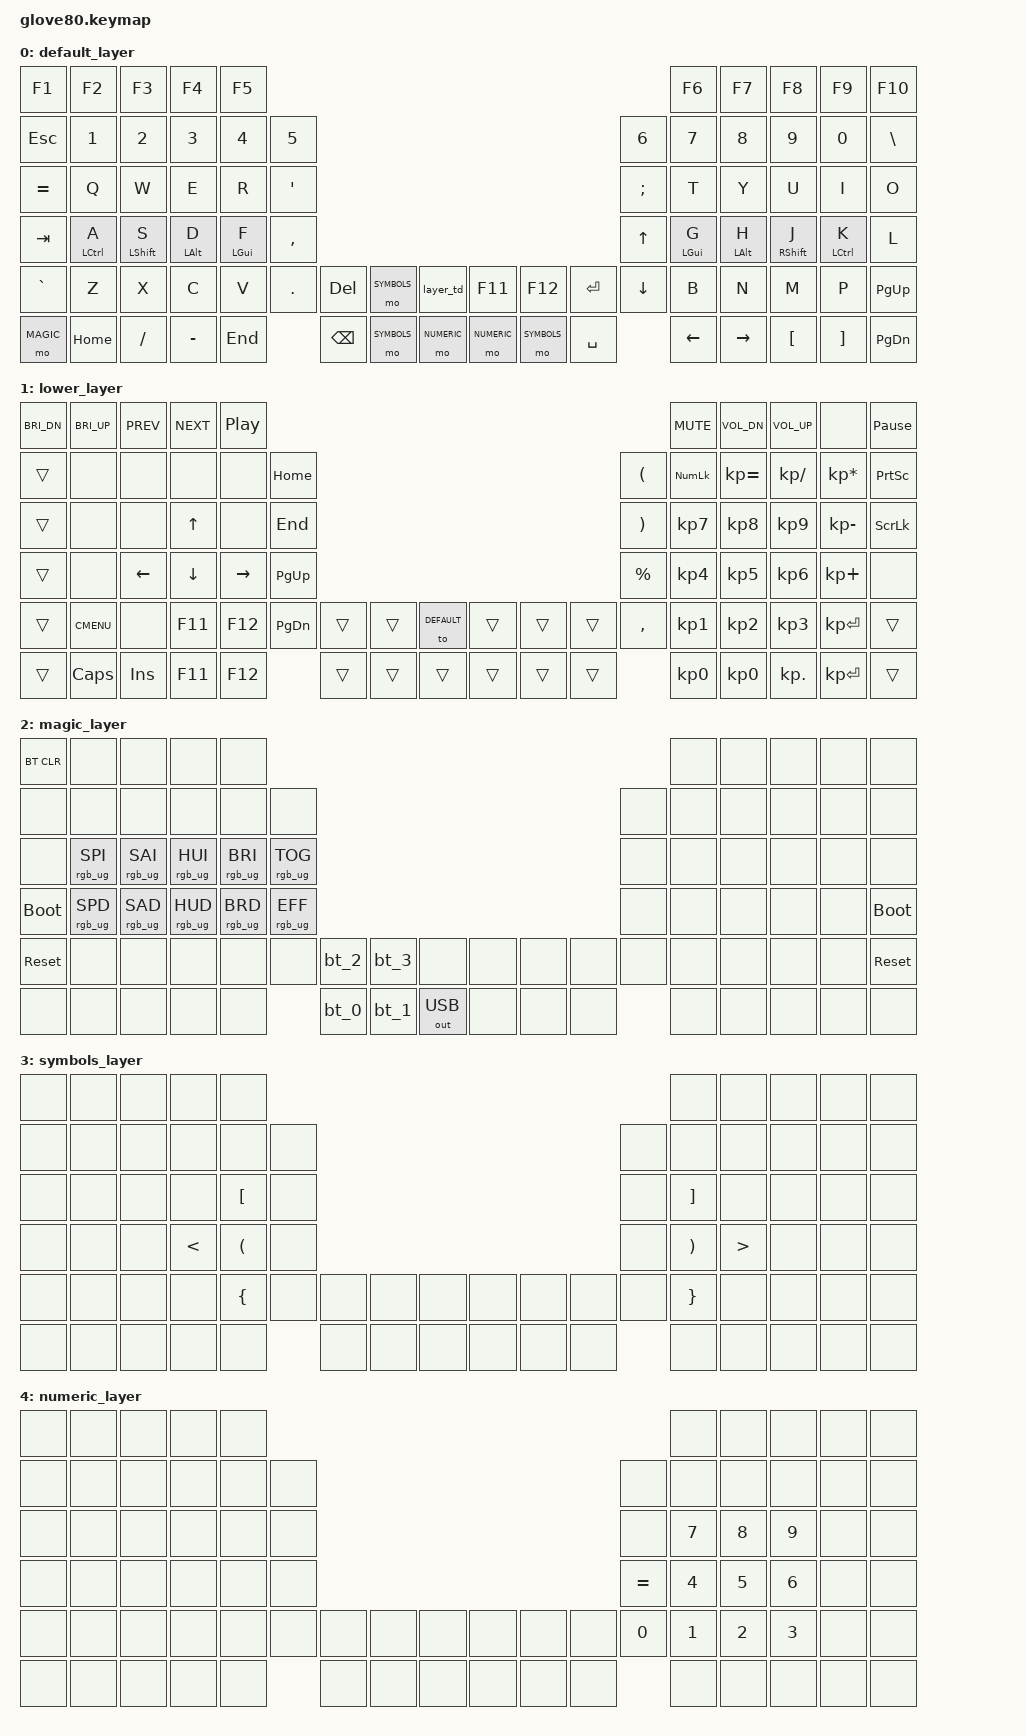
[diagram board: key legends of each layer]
/*
 * Copyright (c) 2020 The ZMK Contributors
 *
 * SPDX-License-Identifier: MIT
 */

#include <behaviors.dtsi>
#include <dt-bindings/zmk/keys.h>
#include <dt-bindings/zmk/bt.h>
#include <dt-bindings/zmk/ext_power.h>
#include <dt-bindings/zmk/outputs.h>
#include <dt-bindings/zmk/rgb.h>

// layers
#define DEFAULT 0
#define LOWER 1
#define MAGIC 2
#define SYMBOLS 3
#define NUMERIC 4

/ {
    behaviors {
        hrml: hrml {
            compatible = "zmk,behavior-hold-tap"; #binding-cells = <2>;
            flavor = "balanced";
            tapping-term-ms = <280>;
            quick-tap-ms = <175>;
            require-prior-idle-ms = <150>;
            bindings = <&kp>, <&kp>;
            hold-trigger-key-positions = <L D W V Z H T S N Q R M F P N6 N7 N8 N9 N0>;
            hold-trigger-on-release;
        };

        hrmr: hrmr {
            compatible = "zmk,behavior-hold-tap"; #binding-cells = <2>;
            flavor = "balanced";
            tapping-term-ms = <280>;
            quick-tap-ms = <175>;
            require-prior-idle-ms = <150>;
            bindings = <&kp>, <&kp>;
            hold-trigger-key-positions = <B Y O U C I E A G X J L N1 N2 N3 N4 N5>;
            hold-trigger-on-release;
        };

        // For the "layer" key, it'd nice to be able to use it as either a shift or a toggle.
        // Configure it as a tap dance, so the first tap (or hold) is a &mo and the second tap is a &to
        layer_td: tap_dance_0 {
            compatible = "zmk,behavior-tap-dance";
            #binding-cells = <0>;
            tapping-term-ms = <200>;
            bindings = <&mo LOWER>, <&to LOWER>;
        };
    };

    macros {
        bt_0: bt_profile_macro_0 {
            compatible = "zmk,behavior-macro";
            #binding-cells = <0>;
            bindings
                = <&out OUT_BLE>,
                  <&bt BT_SEL 0>;
        };

        bt_1: bt_profile_macro_1 {
            compatible = "zmk,behavior-macro";
            #binding-cells = <0>;
            bindings
                = <&out OUT_BLE>,
                  <&bt BT_SEL 1>;
        };

        bt_2: bt_profile_macro_2 {
            compatible = "zmk,behavior-macro";
            #binding-cells = <0>;
            bindings
                = <&out OUT_BLE>,
                  <&bt BT_SEL 2>;
        };

        bt_3: bt_profile_macro_3 {
            compatible = "zmk,behavior-macro";
            #binding-cells = <0>;
            bindings
                = <&out OUT_BLE>,
                  <&bt BT_SEL 3>;
        };
    };

    keymap {
        compatible = "zmk,keymap";
        default_layer {
            bindings = <
            &kp F1        &kp F2   &kp F3      &kp F4      &kp F5                                                                                            &kp F6  &kp F7      &kp F8      &kp F9      &kp F10
            &kp ESC       &kp N1   &kp N2      &kp N3      &kp N4    &kp N5                                                                        &kp N6    &kp N7  &kp N8      &kp N9      &kp N0      &kp BSLH
            &kp EQUAL     &kp Q    &kp W       &kp E       &kp R     &kp SQT                                                                       &kp SEMI  &kp T   &kp Y       &kp U       &kp I       &kp O
            &kp TAB       &hrml LCTRL A &hrml LSHIFT S &hrml LALT D  &hrml LGUI F     &kp COMMA                                                    &kp UP    &hrml LGUI G   &hrml LALT H       &hrml RSHIFT J       &hrml LCTRL K       &kp L
            &kp GRAVE     &kp Z    &kp X      &kp C       &kp V     &kp DOT  &kp DEL   &mo SYMBOLS   &layer_td  &kp F11  &kp F12 &kp RET   &kp DOWN  &kp B   &kp N       &kp M       &kp P       &kp PG_UP
            &mo MAGIC     &kp HOME &kp SLASH  &kp MINUS   &kp END            &kp BSPC  &mo SYMBOLS     &mo NUMERIC   &mo NUMERIC  &mo SYMBOLS   &kp SPACE         &kp LEFT  &kp RIGHT    &kp LBKT    &kp RBKT    &kp PG_DN
            >;
        };
        lower_layer {
            bindings = <
            &kp C_BRI_DN      &kp C_BRI_UP        &kp C_PREV      &kp C_NEXT      &kp C_PP                                                                                                           &kp C_MUTE   &kp C_VOL_DN &kp C_VOL_UP  &none           &kp PAUSE_BREAK
            &trans            &none               &none           &none           &none           &kp HOME                                                                              &kp LPAR     &kp KP_NUM   &kp KP_EQUAL &kp KP_DIVIDE &kp KP_MULTIPLY &kp PSCRN
            &trans            &none               &none           &kp UP          &none           &kp END                                                                               &kp RPAR     &kp KP_N7    &kp KP_N8    &kp KP_N9     &kp KP_MINUS    &kp SLCK
            &trans            &none               &kp LEFT        &kp DOWN        &kp RIGHT       &kp PG_UP                                                                             &kp PRCNT    &kp KP_N4    &kp KP_N5    &kp KP_N6     &kp KP_PLUS     &none
            &trans            &kp K_CMENU         &none           &kp F11         &kp F12         &kp PG_DN       &trans      &trans      &to DEFAULT &trans      &trans      &trans    &kp COMMA    &kp KP_N1    &kp KP_N2    &kp KP_N3     &kp KP_ENTER    &trans
            &trans            &kp CAPS            &kp INS         &kp F11         &kp F12                         &trans      &trans      &trans      &trans      &trans      &trans                 &kp KP_N0    &kp KP_N0    &kp KP_DOT    &kp KP_ENTER    &trans
            >;
        };
        magic_layer {
            bindings = <
            &bt BT_CLR        &none               &none           &none           &none                                                                                                           &none      &none      &none      &none      &none
            &none             &none               &none           &none           &none           &none                                                                                &none      &none      &none      &none      &none      &none
            &none             &rgb_ug RGB_SPI     &rgb_ug RGB_SAI &rgb_ug RGB_HUI &rgb_ug RGB_BRI &rgb_ug RGB_TOG                                                                      &none      &none      &none      &none      &none      &none
            &bootloader       &rgb_ug RGB_SPD     &rgb_ug RGB_SAD &rgb_ug RGB_HUD &rgb_ug RGB_BRD &rgb_ug RGB_EFF                                                                      &none      &none      &none      &none      &none      &bootloader
            &sys_reset        &none               &none           &none           &none           &none           &bt_2     &bt_3     &none            &none     &none     &none       &none      &none      &none      &none      &none      &sys_reset
            &none             &none               &none           &none           &none                           &bt_0     &bt_1     &out OUT_USB     &none     &none     &none                  &none      &none      &none      &none      &none
            >;
        };
        symbols_layer {
            bindings = <
            &none             &none               &none           &none           &none                                                                                                     &none      &none      &none      &none      &none
            &none             &none               &none           &none           &none      &none                                                                               &none      &none      &none      &none      &none      &none
            &none             &none               &none           &none           &kp LBKT   &none                                                                               &none      &kp RIGHT_BRACKET  &none      &none      &none      &none
            &none             &none               &none           &kp LESS_THAN   &kp LPAR   &none                                                                               &none      &kp RIGHT_PARENTHESIS  &kp GREATER_THAN      &none      &none      &none
            &none             &none               &none           &none           &kp LBRC   &none            &none     &none     &none            &none     &none     &none     &none      &kp RIGHT_BRACE  &none      &none      &none &none
            &none             &none               &none           &none           &none                       &none     &none     &none            &none     &none     &none                &none      &none      &none      &none      &none
            >;
        };
        numeric_layer {
            bindings = <
            &none             &none               &none           &none           &none                                                                                                           &none      &none      &none      &none      &none
            &none             &none               &none           &none           &none           &none                                                                                &none      &none      &none      &none      &none      &none
            &none             &none               &none           &none           &none           &none                                                                                &none      &kp N7     &kp N8     &kp N9     &none      &none
            &none             &none               &none           &none           &none           &none                                                                                &kp EQUAL  &kp N4     &kp N5     &kp N6     &none      &none
            &none             &none               &none           &none           &none           &none           &none     &none     &none            &none     &none     &none       &kp N0     &kp N1     &kp N2     &kp N3     &none      &none
            &none             &none               &none           &none           &none                           &none     &none     &none            &none     &none     &none                  &none      &none      &none      &none      &none
            >;
        };
    };
};
